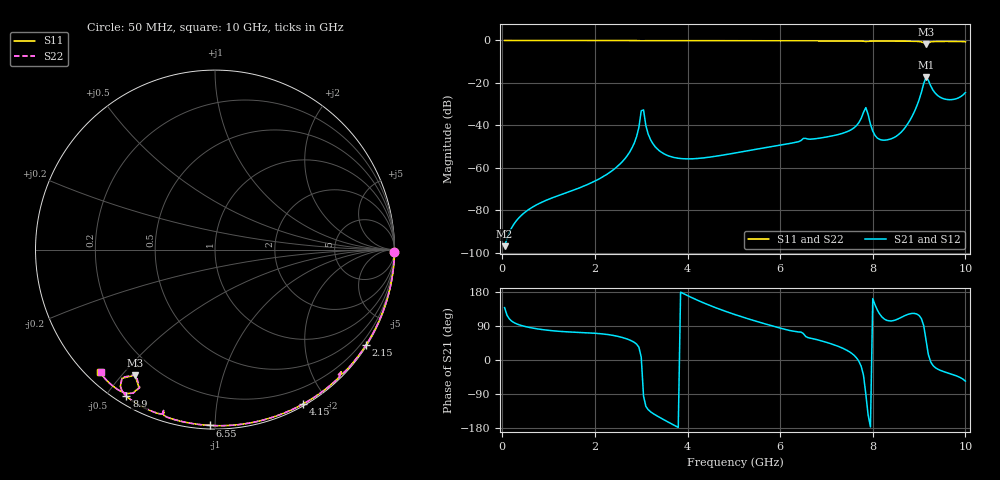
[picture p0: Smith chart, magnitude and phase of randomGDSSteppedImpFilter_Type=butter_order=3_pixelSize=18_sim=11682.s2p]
! freq	dB(S11)	phase(S11)	dB(S12)	phase(S12)
!  dB(S21)	phase(S21)	dB(S22)	phase(S22)
!S-par simulation data
#  GHz  S  DB  R 50
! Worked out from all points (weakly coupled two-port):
!   200 points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, 50 MHz to 10 GHz, reference 50 ohm
!   highest |S21| = -17.41 dB at 9.15 GHz (marker M1); lowest = -97.0 dB at 50 MHz (marker M2)
!   lowest |S11| = -1.6 dB at 9.15 GHz (marker M3), VSWR 10.71, Z = 6.06 - j27.1 ohm
!   |S11| at or under -10 dB: nowhere
!   |S22| runs from -1.7 to 0.0 dB; largest |S21 - S12| = 0
!   S11 on the Smith chart (normalised r, x): 50 MHz: open; 2.15 GHz: 0.03, -3.47; 4.15 GHz: 0.02, -1.72; 6.55 GHz: 0.02, -0.97; 8.9 GHz: 0.03, -0.56; 10 GHz: 0.04, -0.43
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0.05  -0.00 -0.8  -96.95 138.2  -96.95 138.2  -0.00 -0.8
0.55  -0.01 -8.4  -79.98 86.8  -79.98 86.8  -0.01 -8.4
1.75  -0.03 -26.3  -68.72 72.3  -68.72 72.3  -0.03 -26.3
2.15  -0.04 -32.2  -64.49 69.0  -64.49 69.0  -0.04 -32.2
2.75  -0.05 -40.9  -52.64 52.8  -52.64 52.8  -0.05 -40.9
2.9  -0.06 -43.3  -45.31 41.9  -45.31 41.9  -0.06 -43.3
3  -0.18 -45.4  -33.17 7.5  -33.17 7.5  -0.18 -45.4
3.05  -0.19 -44.0  -32.73 -95.0  -32.73 -95.0  -0.19 -44.0
3.2  -0.07 -46.9  -46.69 -136.5  -46.69 -136.5  -0.07 -46.9
3.4  -0.07 -49.9  -52.14 -151.7  -52.14 -151.7  -0.07 -49.9
4.15  -0.08 -60.3  -55.72 161.3  -55.72 161.3  -0.08 -60.3
5.05  -0.11 -72.4  -52.95 118.8  -52.95 118.8  -0.11 -72.4
6.55  -0.18 -91.5  -46.16 62.2  -46.16 62.2  -0.18 -91.5
6.7  -0.18 -93.4  -46.46 56.4  -46.46 56.4  -0.18 -93.4
7.55  -0.23 -104.0  -41.86 17.1  -41.86 17.1  -0.24 -104.0
7.85  -0.51 -107.7  -31.66 -89.9  -31.66 -89.9  -0.53 -107.7
8.05  -0.29 -109.4  -44.79 145.1  -44.79 145.1  -0.30 -109.4
8.35  -0.30 -113.3  -46.65 103.4  -46.65 103.4  -0.30 -113.3
8.9  -0.40 -121.1  -33.49 122.9  -33.49 122.9  -0.40 -121.2
9.15  -1.63 -122.5  -17.41 52.9  -17.41 52.9  -1.68 -122.4
9.5  -0.45 -125.1  -27.23 -29.3  -27.23 -29.3  -0.45 -125.0
10  -0.60 -133.2  -24.55 -55.8  -24.55 -55.8  -0.60 -133.0
